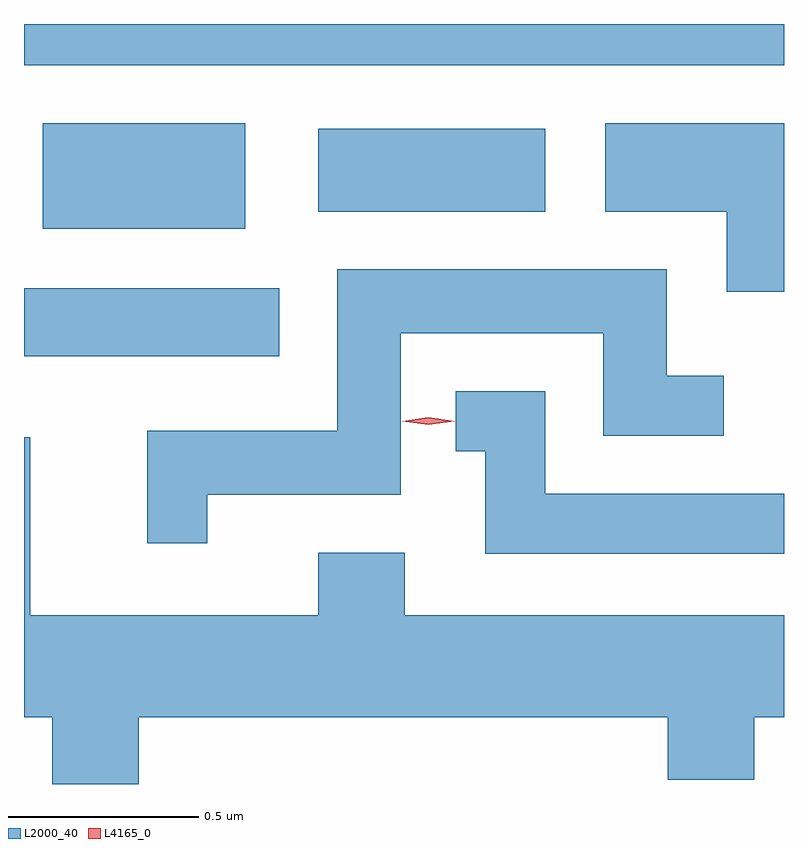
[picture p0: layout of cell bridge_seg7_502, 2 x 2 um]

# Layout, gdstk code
import gdstk
lib = gdstk.Library(unit=1e-6, precision=1e-09)
def R(c, l, rs):  # rectangles x0, y0, x1, y1
    for r in rs: c.add(gdstk.rectangle(r[:2], r[2:], *l))
def P(c, l, *ps):  # polygons
    for p in ps: c.add(gdstk.Polygon(p, *l))
L2000_40 = (2000, 40)
L4165_0 = (4165, 0)

bridge_seg7_502 = lib.new_cell('bridge_seg7_502')
R(bridge_seg7_502, L2000_40, [(1435.107,1706.386,1435.779,1706.564), (1435.156,1706.721,1435.689,1706.999), (1435.881,1706.766,1436.479,1706.984), (1435.107,1707.151,1437.107,1707.26)])
P(bridge_seg7_502, L2000_40, [(1437.107,1706.999),(1436.636,1706.999),(1436.636,1706.766),(1436.956,1706.766),(1436.956,1706.556),(1437.107,1706.556)],
  [(1435.589,1706.021),(1436.099,1706.021),(1436.099,1706.446),(1436.631,1706.446),(1436.631,1706.176),(1436.948,1706.176),(1436.948,1706.334),(1436.799,1706.334),(1436.799,1706.614),(1435.931,1706.614),(1435.931,1706.189),(1435.431,1706.189),(1435.431,1705.893),(1435.589,1705.893)],
  [(1437.107,1706.024),(1436.479,1706.024),(1436.479,1706.294),(1436.243,1706.294),(1436.243,1706.136),(1436.321,1706.136),(1436.321,1705.866),(1437.107,1705.866)],
  [(1436.109,1705.869),(1435.881,1705.869),(1435.881,1705.704),(1435.124,1705.704),(1435.124,1706.173),(1435.107,1706.173),(1435.107,1705.436),(1435.181,1705.436),(1435.181,1705.26),(1435.409,1705.26),(1435.409,1705.436),(1436.801,1705.436),(1436.801,1705.271),(1437.029,1705.271),(1437.029,1705.436),(1437.107,1705.436),(1437.107,1705.704),(1436.109,1705.704)])
P(bridge_seg7_502, L4165_0, [(1436.171,1706.205),(1436.102,1706.214),(1436.102,1706.215),(1436.102,1706.215),(1436.171,1706.225),(1436.241,1706.215),(1436.241,1706.215),(1436.241,1706.214)])

lib.write_gds('bridge_seg7_502.gds')
